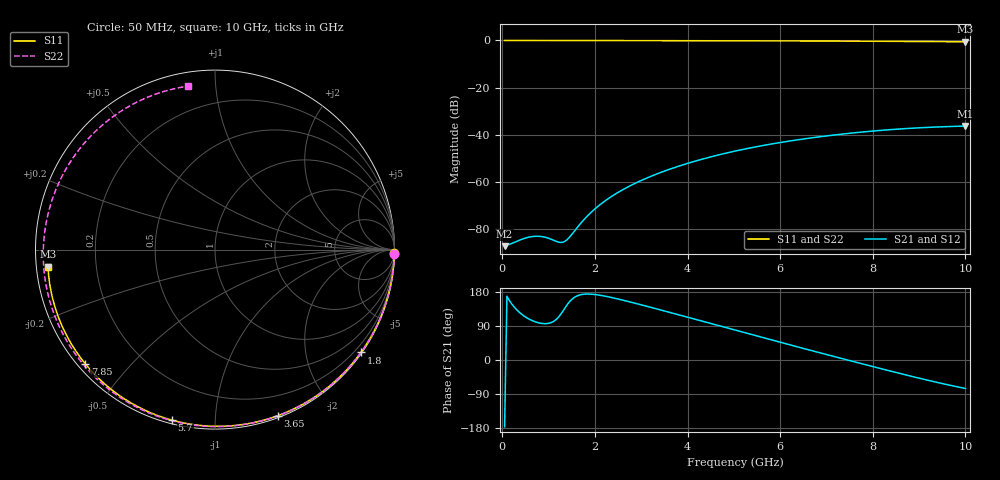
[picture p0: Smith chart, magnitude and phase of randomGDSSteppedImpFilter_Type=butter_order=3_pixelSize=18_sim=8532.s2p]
! freq	dB(S11)	phase(S11)	dB(S12)	phase(S12)
!  dB(S21)	phase(S21)	dB(S22)	phase(S22)
!S-par simulation data
#  GHz  S  DB  R 50
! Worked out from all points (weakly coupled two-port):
!   200 points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, 50 MHz to 10 GHz, reference 50 ohm
!   highest |S21| = -36.36 dB at 10 GHz (marker M1); lowest = -87.4 dB at 50 MHz (marker M2)
!   lowest |S11| = -0.6 dB at 10 GHz (marker M3), VSWR 29.98, Z = 1.67 - j2.55 ohm
!   |S11| at or under -10 dB: nowhere
!   |S22| runs from -0.7 to 0.0 dB; largest |S21 - S12| = 0
!   S11 on the Smith chart (normalised r, x): 50 MHz: open; 1.8 GHz: 0.03, -3.15; 3.65 GHz: 0.02, -1.45; 5.7 GHz: 0.02, -0.78; 7.85 GHz: 0.02, -0.38; 10 GHz: 0.03, -0.05
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0.05  -0.01 -1.0  -87.35 -176.3  -87.35 -176.3  -0.00 -1.3
0.8  -0.02 -15.8  -83.18 97.7  -83.18 97.7  -0.02 -20.9
1.6  -0.04 -31.4  -79.90 168.3  -79.90 168.3  -0.05 -41.2
1.75  -0.04 -34.2  -76.37 173.5  -76.37 173.5  -0.06 -45.0
1.8  -0.04 -35.2  -75.30 174.0  -75.30 174.0  -0.06 -46.2
2.1  -0.05 -40.9  -69.89 171.1  -69.89 171.1  -0.07 -53.7
2.45  -0.06 -47.4  -65.11 162.4  -65.11 162.4  -0.08 -62.3
2.9  -0.07 -55.8  -60.36 148.8  -60.36 148.8  -0.09 -73.2
3.4  -0.09 -64.8  -56.20 132.7  -56.20 132.7  -0.11 -85.0
3.65  -0.09 -69.3  -54.43 124.5  -54.43 124.5  -0.12 -90.9
4.35  -0.12 -81.5  -50.23 101.4  -50.23 101.4  -0.15 -107.1
5.05  -0.14 -93.4  -46.88 78.1  -46.88 78.1  -0.19 -123.2
5.7  -0.17 -104.1  -44.36 56.6  -44.36 56.6  -0.23 -138.1
6.2  -0.20 -112.2  -42.72 40.3  -42.72 40.3  -0.27 -149.8
6.7  -0.24 -120.3  -41.30 24.1  -41.30 24.1  -0.31 -161.9
7.3  -0.28 -129.8  -39.85 4.8  -39.85 4.8  -0.37 -176.9
7.85  -0.33 -138.6  -38.74 -12.6  -38.74 -12.6  -0.43 168.5
8.35  -0.38 -146.6  -37.91 -28.3  -37.91 -28.3  -0.49 154.3
8.75  -0.42 -153.1  -37.37 -40.5  -37.37 -40.5  -0.54 142.2
9.15  -0.47 -159.7  -36.94 -52.4  -36.94 -52.4  -0.59 129.3
9.6  -0.52 -167.3  -36.58 -64.9  -36.58 -64.9  -0.65 113.9
10  -0.58 -174.2  -36.36 -75.1  -36.36 -75.1  -0.70 99.3
